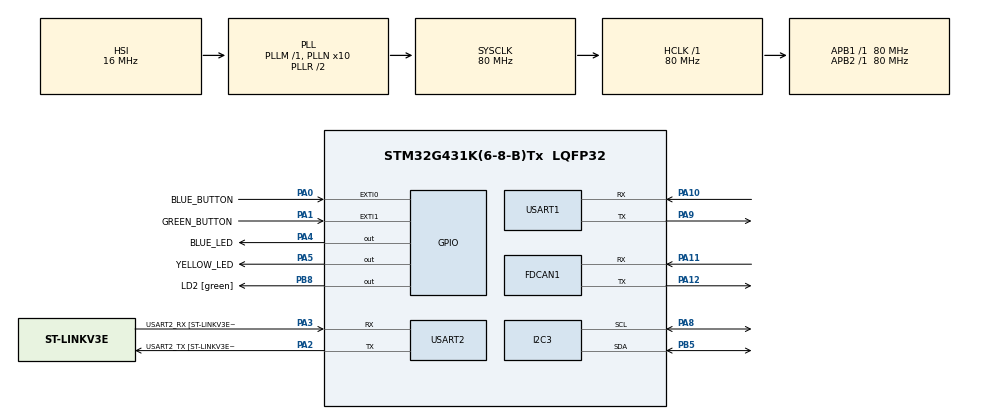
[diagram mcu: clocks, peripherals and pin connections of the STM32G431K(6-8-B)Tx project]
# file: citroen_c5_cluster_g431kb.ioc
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ADC1.Channel-0\#ChannelRegularConversion=ADC_CHANNEL_TEMPSENSOR_ADC1
ADC1.Channel-1\#ChannelRegularConversion=ADC_CHANNEL_VREFINT
ADC1.ContinuousConvMode=ENABLE
ADC1.DMAContinuousRequests=ENABLE
ADC1.ExternalTrigConv=ADC_EXTERNALTRIG_T3_TRGO
ADC1.NbrOfConversion=2
ADC1.NbrOfConversionFlag=1
ADC1.OffsetNumber-0\#ChannelRegularConversion=ADC_OFFSET_NONE
ADC1.OffsetNumber-1\#ChannelRegularConversion=ADC_OFFSET_NONE
ADC1.Rank-0\#ChannelRegularConversion=1
ADC1.Rank-1\#ChannelRegularConversion=2
ADC1.SamplingTime-0\#ChannelRegularConversion=ADC_SAMPLETIME_640CYCLES_5
ADC1.SamplingTime-1\#ChannelRegularConversion=ADC_SAMPLETIME_640CYCLES_5
ADC1.master=1
Dma.ADC1.0.Direction=DMA_PERIPH_TO_MEMORY
Dma.ADC1.0.EventEnable=DISABLE
Dma.ADC1.0.Instance=DMA1_Channel1
Dma.ADC1.0.MemDataAlignment=DMA_MDATAALIGN_HALFWORD
Dma.ADC1.0.MemInc=DMA_MINC_ENABLE
Dma.ADC1.0.Mode=DMA_CIRCULAR
Dma.ADC1.0.PeriphDataAlignment=DMA_PDATAALIGN_HALFWORD
Dma.ADC1.0.PeriphInc=DMA_PINC_DISABLE
Dma.ADC1.0.Polarity=HAL_DMAMUX_REQ_GEN_RISING
Dma.ADC1.0.Priority=DMA_PRIORITY_LOW
Dma.ADC1.0.RequestNumber=1
Dma.ADC1.0.SignalID=NONE
Dma.ADC1.0.SyncEnable=DISABLE
Dma.ADC1.0.SyncPolarity=HAL_DMAMUX_SYNC_NO_EVENT
Dma.ADC1.0.SyncRequestNumber=1
Dma.ADC1.0.SyncSignalID=NONE
Dma.Request0=ADC1
Dma.Request1=USART2_RX
Dma.Request2=USART1_RX
Dma.USART1_RX.2.Direction=DMA_PERIPH_TO_MEMORY
Dma.USART1_RX.2.EventEnable=DISABLE
Dma.USART1_RX.2.Instance=DMA1_Channel3
Dma.USART1_RX.2.MemDataAlignment=DMA_MDATAALIGN_BYTE
Dma.USART1_RX.2.MemInc=DMA_MINC_ENABLE
Dma.USART1_RX.2.Mode=DMA_NORMAL
Dma.USART1_RX.2.PeriphDataAlignment=DMA_PDATAALIGN_BYTE
Dma.USART1_RX.2.PeriphInc=DMA_PINC_DISABLE
Dma.USART1_RX.2.Polarity=HAL_DMAMUX_REQ_GEN_RISING
Dma.USART1_RX.2.Priority=DMA_PRIORITY_LOW
Dma.USART1_RX.2.RequestNumber=1
Dma.USART1_RX.2.SignalID=NONE
Dma.USART1_RX.2.SyncEnable=DISABLE
Dma.USART1_RX.2.SyncPolarity=HAL_DMAMUX_SYNC_NO_EVENT
Dma.USART1_RX.2.SyncRequestNumber=1
Dma.USART1_RX.2.SyncSignalID=NONE
Dma.USART2_RX.1.Direction=DMA_PERIPH_TO_MEMORY
Dma.USART2_RX.1.EventEnable=DISABLE
Dma.USART2_RX.1.Instance=DMA1_Channel2
Dma.USART2_RX.1.MemDataAlignment=DMA_MDATAALIGN_BYTE
Dma.USART2_RX.1.MemInc=DMA_MINC_ENABLE
Dma.USART2_RX.1.Mode=DMA_NORMAL
Dma.USART2_RX.1.PeriphDataAlignment=DMA_PDATAALIGN_BYTE
Dma.USART2_RX.1.PeriphInc=DMA_PINC_DISABLE
Dma.USART2_RX.1.Polarity=HAL_DMAMUX_REQ_GEN_RISING
Dma.USART2_RX.1.Priority=DMA_PRIORITY_LOW
Dma.USART2_RX.1.RequestNumber=1
Dma.USART2_RX.1.SignalID=NONE
Dma.USART2_RX.1.SyncEnable=DISABLE
Dma.USART2_RX.1.SyncPolarity=HAL_DMAMUX_SYNC_NO_EVENT
Dma.USART2_RX.1.SyncRequestNumber=1
Dma.USART2_RX.1.SyncSignalID=NONE
FDCAN1.AutoRetransmission=ENABLE
FDCAN1.CalculateBaudRateNominal=125000
FDCAN1.CalculateTimeBitNominal=8000
FDCAN1.CalculateTimeQuantumNominal=500.0
FDCAN1.ClockDivider=FDCAN_CLOCK_DIV4
FDCAN1.DataPrescaler=10
FDCAN1.DataSyncJumpWidth=1
FDCAN1.DataTimeSeg1=13
FDCAN1.DataTimeSeg2=2
FDCAN1.NominalPrescaler=10
FDCAN1.NominalSyncJumpWidth=1
FDCAN1.NominalTimeSeg1=13
FDCAN1.NominalTimeSeg2=2
FDCAN1.StdFiltersNbr=3
I2C3.Timing=0x10D19CE4
Mcu.Family=STM32G4
Mcu.Name=STM32G431K(6-8-B)Tx
Mcu.Package=LQFP32
NVIC.ADC1_2_IRQn=true\:0\:0\:false\:false\:true\:true\:true\:true
NVIC.DMA1_Channel1_IRQn=true\:0\:0\:false\:false\:true\:false\:true\:true
NVIC.DMA1_Channel2_IRQn=true\:0\:0\:false\:false\:true\:false\:true\:true
NVIC.DMA1_Channel3_IRQn=true\:0\:0\:false\:false\:true\:false\:true\:true
NVIC.EXTI1_IRQn=true\:0\:0\:false\:false\:true\:true\:true\:true
NVIC.FDCAN1_IT0_IRQn=true\:0\:0\:false\:false\:true\:true\:true\:true
NVIC.FDCAN1_IT1_IRQn=true\:0\:0\:false\:false\:true\:true\:true\:true
NVIC.PriorityGroup=NVIC_PRIORITYGROUP_4
NVIC.RNG_IRQn=true\:0\:0\:false\:false\:true\:true\:true\:true
NVIC.USART1_IRQn=true\:0\:0\:false\:false\:true\:true\:true\:true
NVIC.USART2_IRQn=true\:0\:0\:false\:false\:true\:true\:true\:true
PA0.GPIO_Label=BLUE_BUTTON
PA0.GPIO_ModeDefaultEXTI=GPIO_MODE_IT_FALLING
PA0.GPIO_PuPd=GPIO_PULLUP
PA0.Signal=GPXTI0
PA1.GPIO_Label=GREEN_BUTTON
PA1.GPIO_ModeDefaultEXTI=GPIO_MODE_IT_FALLING
PA1.GPIO_PuPd=GPIO_PULLUP
PA1.Signal=GPXTI1
PA10.Mode=Asynchronous
PA10.Signal=USART1_RX
PA11.Mode=FDCAN_Activate
PA11.Signal=FDCAN1_RX
PA12.Mode=FDCAN_Activate
PA12.Signal=FDCAN1_TX
PA13.GPIO_Label=T_SWDIO
PA13.Mode=Serial_Wire
PA13.Signal=SYS_JTMS-SWDIO
PA14.GPIO_Label=T_SWCLK
PA14.Mode=Serial_Wire
PA14.Signal=SYS_JTCK-SWCLK
PA2.GPIO_Label=USART2_TX [ST-LINKV3E_VCP_RX]
PA2.Mode=Asynchronous
PA2.Signal=USART2_TX
PA3.GPIO_Label=USART2_RX [ST-LINKV3E_VCP_TX]
PA3.Mode=Asynchronous
PA3.Signal=USART2_RX
PA4.GPIO_Label=BLUE_LED
PA4.Signal=GPIO_Output
PA5.GPIO_Label=YELLOW_LED
PA5.Signal=GPIO_Output
PA8.Mode=I2C
PA8.Signal=I2C3_SCL
PA9.Mode=Asynchronous
PA9.Signal=USART1_TX
PB3.GPIO_Label=T_SWO
PB3.Signal=SYS_JTDO-SWO
PB5.Mode=I2C
PB5.Signal=I2C3_SDA
PB8-BOOT0.GPIO_Label=LD2 [green]
PB8-BOOT0.Signal=GPIO_Output
ProjectManager.HeapSize=0x200
ProjectManager.StackSize=0x400
ProjectManager.TargetToolchain=STM32CubeIDE
RCC.ADC12Freq_Value=80000000
RCC.AHBFreq_Value=80000000
RCC.APB1Freq_Value=80000000
RCC.APB1TimFreq_Value=80000000
RCC.APB2Freq_Value=80000000
RCC.APB2TimFreq_Value=80000000
RCC.CK48CLockSelection=RCC_USBCLKSOURCE_HSI48
RCC.CortexFreq_Value=80000000
RCC.EXTERNAL_CLOCK_VALUE=12288000
RCC.HCLKFreq_Value=80000000
RCC.HSE_VALUE=8000000
RCC.HSI48_VALUE=48000000
RCC.HSI_VALUE=16000000
RCC.LSE_VALUE=32768
RCC.PLLN=10
RCC.PLLQ=RCC_PLLQ_DIV4
RCC.PWR_Regulator_Voltage_Scale=PWR_REGULATOR_VOLTAGE_SCALE1_BOOST
RCC.SYSCLKFreq_VALUE=80000000
RCC.SYSCLKSource=RCC_SYSCLKSOURCE_PLLCLK
RCC.USBFreq_Value=48000000
RCC.VCOOutputFreq_Value=160000000
TIM3.PeriodNoDither=10000-1
TIM3.Prescaler=1000-1
TIM3.TIM_MasterOutputTrigger=TIM_TRGO_UPDATE
USART1.VirtualMode-Asynchronous=VM_ASYNC
USART2.VirtualMode-Asynchronous=VM_ASYNC
USART2.WordLength=WORDLENGTH_8B
VP_ADC1_TempSens_Input.Mode=IN-TempSens
VP_ADC1_Vref_Input.Mode=IN-Vrefint
VP_RNG_VS_RNG.Mode=RNG_Activate
VP_SYS_VS_DBSignals.Mode=DisableDeadBatterySignals
VP_TIM3_VS_ClockSourceINT.Mode=Internal
board=NUCLEO-G431KB

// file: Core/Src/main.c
/* USER CODE BEGIN Header */
/** https://autowp.github.io/
 ******************************************************************************
 * @file           : main.c
 * @brief          : Main program body
 ******************************************************************************
 * @attention
 *
 * Copyright (c) 2024 STMicroelectronics.
 * All rights reserved.
 *
 * This software is licensed under terms that can be found in the LICENSE file
 * in the root directory of this software component.
 * If no LICENSE file comes with this software, it is provided AS-IS.
 *
 ******************************************************************************
 */
/* USER CODE END Header */
#include "main.h"
#include "adc.h"
#include "dma.h"
#include "fdcan.h"
#include "i2c.h"
#include "rng.h"
#include "tim.h"
#include "usart.h"
#include "gpio.h"

/* USER CODE BEGIN Includes */
#include <stdio.h>
#include <stdlib.h>
#include <string.h>
#include <math.h>
#include "citroen_c5.h"
#include "ssd1306.h"

//#define USE_INTERNAL_TEMP_SENSOR

#ifdef USE_INTERNAL_TEMP_SENSOR
#include "internal_temp_sensor.h"
#endif
/* USER CODE END Includes */

/* USER CODE BEGIN PD */

// #define EXPERIMENT_WITH_MENU
#define MENU_UART_INSTANCE USART2
#define MENU_UART_HANDLE_PTR &huart2

#define MPH2KPH 1.609344

#define CAN_MSG_REPEAT_PERIOD 100
#define CAN_MSG_TIME_INTERVAL 1

#define ENGINE_SPEED_MAX 5600 // rpm
#define ENGINE_SPEED_INCREMENT 200
#define ENGINE_SPEED_DECREMENT 300
#define VEHICLE_SPEED_MAX 200 //650 //((uint16_t)(round(127*MPH2KPH))) // km/h
#define VEHICLE_SPEED_INCREMENT 3
#define ENGINE_SPEED_GEAR_SHIFT 4500 // rpm
#define COOLANT_TEMPERATURE 80 // degC
#define FUEL_LEVEL 75 // %
#define OIL_TEMP 150
#define ODOMETER 0 // please do not change it //(308*MPH2KPH) // km

#define DELAYED_START_INTERVAL 4000

// #define SEND_ALL_CONSECUTIVE_IDS
#define BEGINING_FROM_ID 0
#define PATTERN_TO_BE_SEND   0x55
#define FDCAN_DLC_BYTES_MIN 3
#define FDCAN_DLC_BYTES_MAX 8

#define PUSH_BUTTON_TIME_INTERVAL 100
#define NUMBER_OF_KEYS 1 // universal solution, but here we expect just a single key stroke
/* USER CODE END PD */

/* USER CODE BEGIN PV */
FDCAN_RxHeaderTypeDef RxHeader0;
uint8_t RxData0[8];

FDCAN_RxHeaderTypeDef RxHeader1;
uint8_t RxData1[8];
uint8_t RxDataUnits[8];
uint8_t RxDataOdometer[8];
uint8_t odometer_rx_flag = 0;

FDCAN_TxHeaderTypeDef TxHeader;
uint8_t TxData8[8];

uint32_t TxMailbox;

uint16_t vehicle_speed = 0;
uint16_t engine_speed = 0;
uint8_t gear_number;

uint8_t engine_speed_down;

uint32_t CanMsgSoftTimer50;
uint32_t CanMsgSoftTimer100;
uint32_t CanMsgSoftTimer200;
uint32_t CanMsgSoftTimer500;
uint32_t CanMsgSoftTimer;
uint32_t DelayedStartSoftTimer;

volatile uint8_t green_button_flag = 0;

uint16_t msg_id = BEGINING_FROM_ID;

char lcd_line[128];

uint8_t keyboard_keys[NUMBER_OF_KEYS];
volatile uint8_t keyboard_flag = 0;

#ifdef USE_INTERNAL_TEMP_SENSOR
typedef struct AdcValues
{
	uint16_t Raw[2]; /* Raw values from ADC */
	int32_t IntSensTmp; /* Temperature */
} adcval_t;

adcval_t Adc;

typedef struct Flags
{
	uint8_t ADCCMPLT;
} flag_t;

flag_t Flg =
{ 0, };
#endif

uint32_t mileage = ODOMETER;
/* USER CODE END PV */

void SystemClock_Config(void);
/* USER CODE BEGIN PFP */

void CalculateRpmSpeed(void);
void DisplayUnitsAndLanguage(void);

/* USER CODE END PFP */

int main(void)
{

	/* MCU Configuration--------------------------------------------------------*/

	/* Reset of all peripherals, Initializes the Flash interface and the Systick. */
	HAL_Init();

	/* Configure the system clock */
	SystemClock_Config();

	/* Initialize all configured peripherals */
	MX_GPIO_Init();
	MX_DMA_Init();
	MX_USART2_UART_Init();
	MX_FDCAN1_Init();
	MX_I2C3_Init();
	MX_RNG_Init();
	MX_ADC1_Init();
	MX_TIM3_Init();
	MX_USART1_UART_Init();
	/* USER CODE BEGIN 2 */

#ifdef USE_INTERNAL_TEMP_SENSOR
	HAL_ADCEx_Calibration_Start(&hadc1, ADC_SINGLE_ENDED);
	HAL_ADC_Start_DMA(&hadc1, (uint32_t*) Adc.Raw, 2);
	HAL_TIM_Base_Start(&htim3); /* This timer starts ADC conversion */
#endif

	ssd1306_Init();
	ssd1306_Fill(Black);
	ssd1306_SetCursor(20, 0);
	ssd1306_WriteString("ufnalski.edu.pl", Font_6x8, White);
	ssd1306_SetCursor(10, 11);
	ssd1306_WriteString("Citroen C5 II 2011", Font_6x8, White);
	ssd1306_SetCursor(10, 22);
	ssd1306_WriteString("Instrument cluster", Font_6x8, White);
	ssd1306_SetCursor(12, 33);
	ssd1306_WriteString("CAN bus hacking", Font_6x8, White);
	ssd1306_UpdateScreen();

	HAL_FDCAN_ConfigGlobalFilter(&hfdcan1, FDCAN_REJECT, FDCAN_REJECT,
	FDCAN_REJECT_REMOTE, FDCAN_REJECT_REMOTE);

	if (HAL_FDCAN_Start(&hfdcan1) != HAL_OK)
	{
		Error_Handler();
	}

	if (HAL_FDCAN_ActivateNotification(&hfdcan1, FDCAN_IT_RX_FIFO0_NEW_MESSAGE,
			0) != HAL_OK)
	{
		/* Notification Error */
		Error_Handler();
	}

	if (HAL_FDCAN_ActivateNotification(&hfdcan1, FDCAN_IT_RX_FIFO1_NEW_MESSAGE,
			0) != HAL_OK)
	{
		/* Notification Error */
		Error_Handler();
	}

	TxHeader.IdType = FDCAN_STANDARD_ID;
	TxHeader.TxFrameType = FDCAN_DATA_FRAME;
	TxHeader.ErrorStateIndicator = FDCAN_ESI_ACTIVE;
	TxHeader.BitRateSwitch = FDCAN_BRS_ON;
	TxHeader.FDFormat = FDCAN_FD_CAN;
	TxHeader.TxEventFifoControl = FDCAN_NO_TX_EVENTS;
	TxHeader.MessageMarker = 0;

	CanMsgSoftTimer50 = HAL_GetTick();
	CanMsgSoftTimer100 = HAL_GetTick();
	CanMsgSoftTimer200 = HAL_GetTick();
	CanMsgSoftTimer500 = HAL_GetTick();
	CanMsgSoftTimer = HAL_GetTick();
	DelayedStartSoftTimer = HAL_GetTick();

	memset(RxData0, 0x00, sizeof(RxData0));
	memset(RxData1, 0x00, sizeof(RxData1));

	HAL_UARTEx_ReceiveToIdle_DMA(MENU_UART_HANDLE_PTR, keyboard_keys, 1);

	/* USER CODE END 2 */

	/* Infinite loop */
	/* USER CODE BEGIN WHILE */

	while (1)
	{

		if (odometer_rx_flag == 1)
		{
			odometer_rx_flag = 0;
			mileage = (RxDataOdometer[0] << 16) | (RxDataOdometer[1] << 8)
					| (RxDataOdometer[3]);
			mileage /= 10;
		}

		if (green_button_flag == 1)
		{
			green_button_flag = 0;
			send_door_warning(CAN_MSG_TIME_INTERVAL);
		}

		// You can't enter the menu while driving :)
		if (keyboard_flag == 1)
		{
			keyboard_flag = 0;
			switch (keyboard_keys[0])
			{
			case 'm':
				send_steering_wheel_button_menu(CAN_MSG_TIME_INTERVAL);
				send_steering_wheel_button_left_scroll_0(CAN_MSG_TIME_INTERVAL);
				break;
			case 'b':
				send_steering_wheel_button_left_back(CAN_MSG_TIME_INTERVAL);
				send_steering_wheel_button_left_scroll_0(CAN_MSG_TIME_INTERVAL);
				break;
			case 'p':
				send_steering_wheel_button_left_scroll_pushed(
				CAN_MSG_TIME_INTERVAL);
				send_steering_wheel_button_left_scroll_0(
				PUSH_BUTTON_TIME_INTERVAL);
				break;
			case '0':
				send_steering_wheel_button_left_scroll_0(CAN_MSG_TIME_INTERVAL);
				break;
			case '1':
				send_steering_wheel_button_left_scroll_1(CAN_MSG_TIME_INTERVAL);
				break;
			case '2':
				send_steering_wheel_button_left_scroll_2(CAN_MSG_TIME_INTERVAL);
				break;
			case '3':
				send_steering_wheel_button_left_scroll_3(CAN_MSG_TIME_INTERVAL);
				break;
			case '4':
				send_steering_wheel_button_left_scroll_4(CAN_MSG_TIME_INTERVAL);
				break;
			case '5':
				send_steering_wheel_button_left_scroll_5(CAN_MSG_TIME_INTERVAL);
				break;
			case '6':
				send_steering_wheel_button_left_scroll_6(CAN_MSG_TIME_INTERVAL);
				break;
			case '7':
				send_steering_wheel_button_left_scroll_7(CAN_MSG_TIME_INTERVAL);
				break;
			case '8':
				send_steering_wheel_button_left_scroll_8(CAN_MSG_TIME_INTERVAL);
				break;
			default:
				;
			}
		}

		// every 50 ms
		if (HAL_GetTick() - CanMsgSoftTimer50 > 50)
		{
			CanMsgSoftTimer50 = HAL_GetTick();
			// You can't enter the menu while driving :)
#ifndef EXPERIMENT_WITH_MENU
			send_rpm_and_speed(engine_speed, vehicle_speed,
			CAN_MSG_TIME_INTERVAL);
#endif
		}
		// every 100 ms
		if (HAL_GetTick() - CanMsgSoftTimer100 > 100)
		{
			CanMsgSoftTimer100 = HAL_GetTick();
			send_ignition_on((RxData0[0]) >> 4, CAN_MSG_TIME_INTERVAL);
		}
		// every 200 ms
		if (HAL_GetTick() - CanMsgSoftTimer200 > 200)
		{
			CanMsgSoftTimer200 = HAL_GetTick();
			if (HAL_GetTick() - DelayedStartSoftTimer > DELAYED_START_INTERVAL)
			{
				CalculateRpmSpeed();
				send_christmas_lights_and_gear(gear_number,
				CAN_MSG_TIME_INTERVAL);
				send_christmas_lights_bis(CAN_MSG_TIME_INTERVAL);
				send_cruise_data(CAN_MSG_TIME_INTERVAL);
			}
		}
		// every 500 ms
		if (HAL_GetTick() - CanMsgSoftTimer500 > 500)
		{
			CanMsgSoftTimer500 = HAL_GetTick();
			send_fuel_level_and_oil_temp(FUEL_LEVEL, OIL_TEMP,
			CAN_MSG_TIME_INTERVAL);
			send_odometer_and_coolant_temp(COOLANT_TEMPERATURE, mileage,
			CAN_MSG_TIME_INTERVAL);
//			send_maintenance(CAN_MSG_TIME_INTERVAL);

#ifndef SEND_ALL_CONSECUTIVE_IDS
			ssd1306_SetCursor(2, 47);
			ssd1306_WriteString("Units & language:", Font_6x8, White);
			DisplayUnitsAndLanguage();
			ssd1306_SetCursor(16, 56);
			ssd1306_WriteString(lcd_line, Font_6x8, White);
			ssd1306_UpdateScreen();
#endif
			HAL_GPIO_TogglePin(BLUE_LED_GPIO_Port, BLUE_LED_Pin);
		}

#ifdef SEND_ALL_CONSECUTIVE_IDS
		if ((HAL_GetTick() - CanMsgSoftTimer > CAN_MSG_REPEAT_PERIOD)
				&& (msg_id <= 0x7FF))
		{
			CanMsgSoftTimer = HAL_GetTick();

			for (uint32_t msg_length = FDCAN_DLC_BYTES_MAX;
					msg_length >= FDCAN_DLC_BYTES_MIN; msg_length--)
			{
				HAL_Delay(CAN_MSG_TIME_INTERVAL);
				TxHeader.DataLength = msg_length;
				TxHeader.Identifier = msg_id;
				memset(TxData8, PATTERN_TO_BE_SEND, sizeof(TxData8));

				if (msg_id != CAN_ID_ODOMETER_TO_IPC)
				{
					if (HAL_FDCAN_AddMessageToTxFifoQ(&hfdcan1, &TxHeader,
							TxData8) != HAL_OK)
					{
						Error_Handler();
					}
				}
			}

			msg_id++;

#ifdef USE_INTERNAL_TEMP_SENSOR
					if (Flg.ADCCMPLT) /* Conversion completed, do calculations */
					{
						/* Temperature Sensor ADC-value, Reference Voltage ADC-value (if use) */
						Adc.IntSensTmp = TMPSENSOR_getTemperature(Adc.Raw[0],
								Adc.Raw[1]);

						Flg.ADCCMPLT = 0; /* Nullify flag */

					}
					sprintf(lcd_line, "uC temp.: %ld deg. C ", Adc.IntSensTmp);
					ssd1306_SetCursor(2, 45);
					ssd1306_WriteString(lcd_line, Font_6x8, White);
		#endif
			sprintf(lcd_line, "Brightness: %d  ", (RxData0[0]) >> 4);
			ssd1306_SetCursor(16, 45);
			ssd1306_WriteString(lcd_line, Font_6x8, White);

			sprintf(lcd_line, "Message ID: %u    ", msg_id - 1);
			ssd1306_SetCursor(16, 56);
			ssd1306_WriteString(lcd_line, Font_6x8, White);

			ssd1306_UpdateScreen(); // adds 100 ms at 100 kHz I2C!!!
			HAL_GPIO_TogglePin(BLUE_LED_GPIO_Port,
			BLUE_LED_Pin);
		}
#endif
		/* USER CODE END WHILE */

	}
}

void SystemClock_Config(void)
{
	RCC_OscInitTypeDef RCC_OscInitStruct =
	{ 0 };
	RCC_ClkInitTypeDef RCC_ClkInitStruct =
	{ 0 };

	/** Configure the main internal regulator output voltage
	 */
	HAL_PWREx_ControlVoltageScaling(PWR_REGULATOR_VOLTAGE_SCALE1_BOOST);

	/** Initializes the RCC Oscillators according to the specified parameters
	 * in the RCC_OscInitTypeDef structure.
	 */
	RCC_OscInitStruct.OscillatorType = RCC_OSCILLATORTYPE_HSI
			| RCC_OSCILLATORTYPE_HSI48;
	RCC_OscInitStruct.HSIState = RCC_HSI_ON;
	RCC_OscInitStruct.HSICalibrationValue = RCC_HSICALIBRATION_DEFAULT;
	RCC_OscInitStruct.HSI48State = RCC_HSI48_ON;
	RCC_OscInitStruct.PLL.PLLState = RCC_PLL_ON;
	RCC_OscInitStruct.PLL.PLLSource = RCC_PLLSOURCE_HSI;
	RCC_OscInitStruct.PLL.PLLM = RCC_PLLM_DIV1;
	RCC_OscInitStruct.PLL.PLLN = 10;
	RCC_OscInitStruct.PLL.PLLP = RCC_PLLP_DIV2;
	RCC_OscInitStruct.PLL.PLLQ = RCC_PLLQ_DIV4;
	RCC_OscInitStruct.PLL.PLLR = RCC_PLLR_DIV2;
	if (HAL_RCC_OscConfig(&RCC_OscInitStruct) != HAL_OK)
	{
		Error_Handler();
	}

	/** Initializes the CPU, AHB and APB buses clocks
	 */
	RCC_ClkInitStruct.ClockType = RCC_CLOCKTYPE_HCLK | RCC_CLOCKTYPE_SYSCLK
			| RCC_CLOCKTYPE_PCLK1 | RCC_CLOCKTYPE_PCLK2;
	RCC_ClkInitStruct.SYSCLKSource = RCC_SYSCLKSOURCE_PLLCLK;
	RCC_ClkInitStruct.AHBCLKDivider = RCC_SYSCLK_DIV1;
	RCC_ClkInitStruct.APB1CLKDivider = RCC_HCLK_DIV1;
	RCC_ClkInitStruct.APB2CLKDivider = RCC_HCLK_DIV1;

	if (HAL_RCC_ClockConfig(&RCC_ClkInitStruct, FLASH_LATENCY_2) != HAL_OK)
	{
		Error_Handler();
	}
}

/* USER CODE BEGIN 4 */
#ifdef USE_INTERNAL_TEMP_SENSOR
void HAL_ADC_ConvCpltCallback(ADC_HandleTypeDef *hadc)
{
	if (hadc->Instance == ADC1) /* Check if the interrupt comes from ACD1 */
	{
		/* Set flag to true */
		Flg.ADCCMPLT = 0xFF;
	}
}
#endif

void HAL_FDCAN_RxFifo0Callback(FDCAN_HandleTypeDef *hfdcan, uint32_t RxFifo0ITs)
{
	if ((RxFifo0ITs & FDCAN_IT_RX_FIFO0_NEW_MESSAGE) != RESET)
	{
		/* Retreive Rx messages from RX FIFO0 */
		if (HAL_FDCAN_GetRxMessage(hfdcan, FDCAN_RX_FIFO0, &RxHeader0, RxData0)
				!= HAL_OK)
		{
			/* Reception Error */
			Error_Handler();
		}

		if (HAL_FDCAN_ActivateNotification(hfdcan,
		FDCAN_IT_RX_FIFO0_NEW_MESSAGE, 0) != HAL_OK)
		{
			/* Notification Error */
			Error_Handler();
		}
		else
		{
			HAL_GPIO_TogglePin(YELLOW_LED_GPIO_Port,
			YELLOW_LED_Pin);
		}
	}
}

void HAL_FDCAN_RxFifo1Callback(FDCAN_HandleTypeDef *hfdcan, uint32_t RxFifo1ITs)
{
	if ((RxFifo1ITs & FDCAN_IT_RX_FIFO1_NEW_MESSAGE) != RESET)
	{
		/* Retreive Rx messages from RX FIFO0 */
		if (HAL_FDCAN_GetRxMessage(hfdcan, FDCAN_RX_FIFO1, &RxHeader1, RxData1)
				!= HAL_OK)
		{
			/* Reception Error */
			Error_Handler();
		}
		else if (RxHeader1.Identifier == 0x2D7) // choice of units
		{
			memcpy(RxDataUnits, RxData1, 8);
		}
		else if ((RxHeader1.Identifier == CAN_ID_ODOMETER_FROM_IPC)
				&& (RxHeader1.DataLength == 6)) // odometer
		{
			odometer_rx_flag = 1;
			memcpy(RxDataOdometer, RxData1, 8);
		}
		else
		{
			;
		}

		if (HAL_FDCAN_ActivateNotification(hfdcan,
		FDCAN_IT_RX_FIFO1_NEW_MESSAGE, 0) != HAL_OK)
		{
			/* Notification Error */
			Error_Handler();
		}
		else
		{
			HAL_GPIO_TogglePin(YELLOW_LED_GPIO_Port,
			YELLOW_LED_Pin);
		}
	}
}

void HAL_GPIO_EXTI_Callback(uint16_t GPIO_Pin)
{
	if (GPIO_Pin == GREEN_BUTTON_Pin)
	{
		green_button_flag = 1;
	}
}

void CalculateRpmSpeed(void)
{
	if (!engine_speed_down)
	{
		if (engine_speed < ENGINE_SPEED_MAX - ENGINE_SPEED_INCREMENT)
		{
			engine_speed = engine_speed + ENGINE_SPEED_INCREMENT;

		}
		else if (gear_number < 5)
		{
			engine_speed_down = 1;
			gear_number++;
		}
		else
		{
			;
		}
	}
	else
	{
		if (engine_speed > ENGINE_SPEED_GEAR_SHIFT)
		{
			engine_speed = engine_speed - ENGINE_SPEED_DECREMENT;
		}
		else
		{
			engine_speed_down = 0;
		}
	}

	if (vehicle_speed < VEHICLE_SPEED_MAX - VEHICLE_SPEED_INCREMENT)
	{
		vehicle_speed = vehicle_speed + VEHICLE_SPEED_INCREMENT;
	}
}

void HAL_UARTEx_RxEventCallback(UART_HandleTypeDef *huart, uint16_t Size)
{
	if (huart->Instance == MENU_UART_INSTANCE)
	{
		keyboard_flag = 1;
		HAL_UARTEx_ReceiveToIdle_DMA(MENU_UART_HANDLE_PTR, keyboard_keys, 1);
	}
}

void DisplayUnitsAndLanguage(void)
{
	int str_length = 0;
	if (RxDataUnits[1] == 0x00)
	{
		str_length = sprintf(lcd_line, "l/100 km");
	}
	else if (RxDataUnits[1] == 0xE0)
	{
		str_length = sprintf(lcd_line, "mpg");
	}
	else if (RxDataUnits[1] == 0x40)
	{
		str_length = sprintf(lcd_line, "km/l");
	}
	else
	{
		str_length = sprintf(lcd_line, "Sth went wrong!");
	}

	if (RxDataUnits[0] == 0x01)
	{
		sprintf(lcd_line + str_length, " & EN          ");
	}
	else // reverse engineer more languages :)
	{
		sprintf(lcd_line + str_length, " & xx        ");
	}
}
/* USER CODE END 4 */

void Error_Handler(void) // disabled to catch the odometer
{
	/* USER CODE BEGIN Error_Handler_Debug */
	/* User can add his own implementation to report the HAL error return state */
//	__disable_irq();
//	while (1)
//	{
//	}
	/* USER CODE END Error_Handler_Debug */
}
